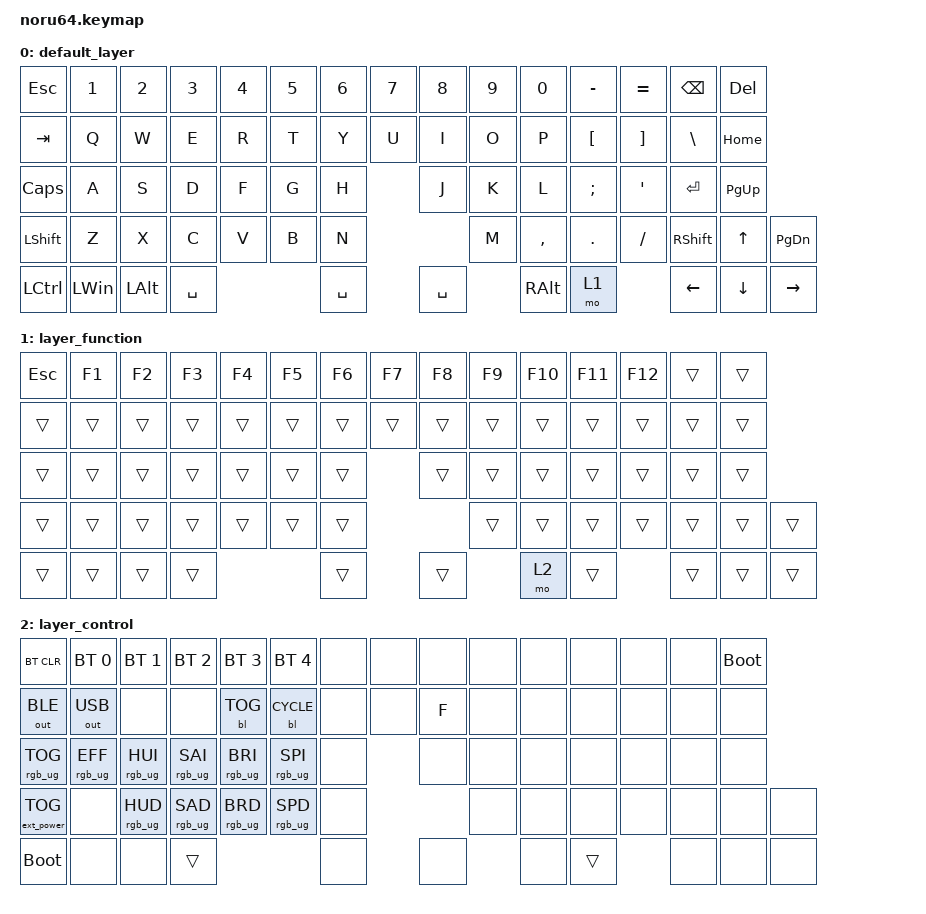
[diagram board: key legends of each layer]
/*
 * Copyright (c) 2020 The ZMK Contributors
 *
 * SPDX-License-Identifier: MIT
 */
/* THIS FILE WAS GENERATED!
 *
 * This file was generated automatically. You may or may not want to
 * edit it directly.
 */

#include <behaviors.dtsi>
#include <dt-bindings/zmk/backlight.h>
#include <dt-bindings/zmk/bt.h>
#include <dt-bindings/zmk/ext_power.h>
#include <dt-bindings/zmk/keys.h>
#include <dt-bindings/zmk/outputs.h>
#include <dt-bindings/zmk/rgb.h>

/ {
    keymap {
        compatible = "zmk,keymap";

        default_layer {
            bindings = <
&kp ESCAPE    &kp N1        &kp N2     &kp N3  &kp N4  &kp N5     &kp N6  &kp N7     &kp N8     &kp N9         &kp N0  &kp MINUS  &kp EQUAL             &kp BSPC    &kp DEL
   &kp TAB     &kp Q         &kp W      &kp E   &kp R              &kp T   &kp Y      &kp U      &kp I          &kp O      &kp P   &kp LBKT   &kp RBKT  &kp BSLH   &kp HOME
  &kp CAPS     &kp A         &kp S      &kp D           &kp F      &kp G   &kp H      &kp J      &kp K          &kp L   &kp SEMI    &kp SQT              &kp RET  &kp PG_UP
 &kp LSHFT                   &kp Z      &kp X   &kp C   &kp V      &kp B   &kp N      &kp M  &kp COMMA        &kp DOT              &kp FSLH  &kp RSHFT    &kp UP  &kp PG_DN
 &kp LCTRL  &kp LWIN  &kp LEFT_ALT  &kp SPACE                  &kp SPACE          &kp SPACE             &kp RIGHT_ALT      &mo 1              &kp LEFT  &kp DOWN  &kp RIGHT
            >;
        };

        layer_function {
            bindings = <
&kp ESCAPE  &kp F1  &kp F2  &kp F3  &kp F4  &kp F5  &kp F6  &kp F7  &kp F8  &kp F9  &kp F10  &kp F11  &kp F12          &trans  &trans
    &trans  &trans  &trans  &trans  &trans          &trans  &trans  &trans  &trans   &trans   &trans   &trans  &trans  &trans  &trans
    &trans  &trans  &trans  &trans          &trans  &trans  &trans  &trans  &trans   &trans   &trans   &trans          &trans  &trans
    &trans          &trans  &trans  &trans  &trans  &trans  &trans  &trans  &trans   &trans            &trans  &trans  &trans  &trans
    &trans  &trans  &trans  &trans                  &trans          &trans            &mo 2   &trans           &trans  &trans  &trans
            >;
        };

        layer_control {
            bindings = <
       &bt BT_CLR     &bt BT_SEL 0     &bt BT_SEL 1     &bt BT_SEL 2     &bt BT_SEL 3     &bt BT_SEL 4            &none  &none  &none  &none  &none   &none  &none         &none  &bootloader
     &out OUT_BLE     &out OUT_USB            &none            &none       &bl BL_TOG                      &bl BL_CYCLE  &none  &none  &kp F  &none   &none  &none  &none  &none        &none
  &rgb_ug RGB_TOG  &rgb_ug RGB_EFF  &rgb_ug RGB_HUI  &rgb_ug RGB_SAI                   &rgb_ug RGB_BRI  &rgb_ug RGB_SPI  &none  &none  &none  &none   &none  &none         &none        &none
&ext_power EP_TOG                             &none  &rgb_ug RGB_HUD  &rgb_ug RGB_SAD  &rgb_ug RGB_BRD  &rgb_ug RGB_SPD  &none  &none  &none  &none          &none  &none  &none        &none
      &bootloader            &none            &none           &trans                                              &none         &none         &none  &trans         &none  &none        &none
            >;
        };
    };
};
